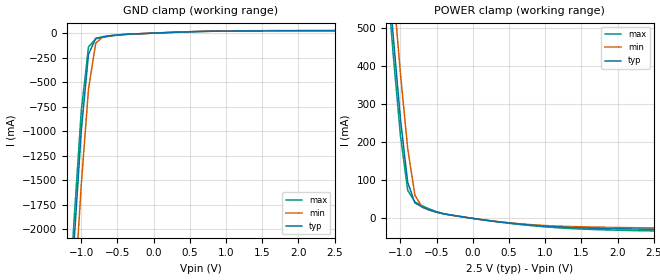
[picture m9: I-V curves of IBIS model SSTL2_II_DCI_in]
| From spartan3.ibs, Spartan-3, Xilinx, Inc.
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|   Model SSTL2_II_DCI_in
[Model]   SSTL2_II_DCI_in
Model_type   Input
Vinl =   1.10V
Vinh =   1.40V
C_comp   6.38pF   4.60pF   8.23pF
[Temperature Range]   25.00   85.00   0.000
[Voltage Range]   2.50V   2.30V   2.70V
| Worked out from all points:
|   GND clamp passes 1 mA (typ) near -0.03 V on its own axis
|   POWER clamp passes 1 mA (typ) near -0.04 V on its own axis
[GND_clamp]
| voltage   I(typ)   I(min)   I(max)
-2.5V     -21.56A    -22.08A    -21.36A
-1.2V     -3.414A    -4.011A    -3.177A
-1.1V     -2.144A    -2.736A    -1.914A
-1V       -997.7mA   -1.548A    -796.7mA
-900mV    -216.2mA   -570.8mA   -140.6mA
-800mV    -52.9mA    -101.7mA   -57.54mA
-700mV    -36.64mA   -37.05mA   -43.04mA
-400mV    -12.82mA   -14.09mA   -13.54mA
800mV     18.82mA    20.64mA    19.17mA
2.5V      24.33mA    26.85mA    25.16mA
[POWER_clamp]
| voltage   I(typ)   I(min)   I(max)
-2.5V     4.063A     4.178A     4.018A
-1.2V     716.7mA    844mA      666.8mA
-1.1V     480.2mA    606.1mA    431.3mA
-1V       261.7mA    380.9mA    217.8mA
-900mV    94.95mA    184.1mA    74.04mA
-800mV    40.6mA     60.54mA    42.86mA
-700mV    30.29mA    29.45mA    33.17mA
-600mV    22.75mA    21.47mA    24.76mA
-400mV    11.92mA    11.73mA    12.31mA
600mV     -14.14mA   -13.31mA   -14.93mA
1.4V      -24.32mA   -21.67mA   -27.18mA
2.5V      -28.68mA   -25.16mA   -33.01mA
